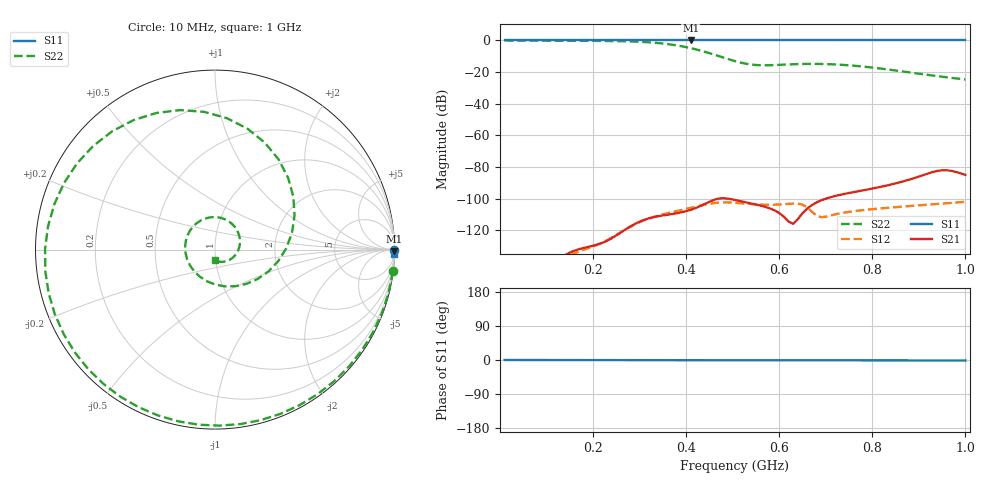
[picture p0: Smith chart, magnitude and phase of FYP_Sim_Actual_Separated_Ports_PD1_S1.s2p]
! Touchstone file from project FYP_Sim_Actual_Separated_Ports
! Exported from HFSS 13.0.2
# GHZ S MA R 50.000000
! Terminal data exported
! Port[1] = PD1_Void_Port_T1
! Port[2] = Radiating_Plate_T1
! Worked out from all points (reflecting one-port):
!   100 points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, 10 MHz to 1 GHz, reference 50 ohm
!   lowest |S11| = 0.0 dB at 410 MHz (marker M1)
!   phase of S11 starts at -0 deg and turns -1 deg over the sweep
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0.01  1 -0.0  8.799e-11 143.8  8.799e-11 143.8  0.9984 -7.0
0.05  1 -0.1  2.066e-09 -4.9  2.066e-09 -4.9  0.992 -34.3
0.1  1 -0.1  1.783e-08 169.2  1.783e-08 169.2  0.9851 -68.2
0.14  1 -0.2  1.645e-07 -32.1  1.313e-07 -62.8  0.9797 -95.3
0.18  1 -0.2  2.788e-07 -7.1  2.429e-07 -16.6  0.9744 -122.7
0.22  1 -0.3  4.021e-07 41.7  4.137e-07 42.4  0.9657 -150.8
0.26  1 -0.3  8.606e-07 105.4  8.791e-07 105.4  0.9467 179.7
0.3  1 -0.4  1.882e-06 164.9  1.806e-06 164.7  0.9064 148.0
0.34  1 -0.4  2.787e-06 -141.4  2.919e-06 -140.7  0.8285 113.2
0.37  1 -0.5  3.275e-06 -107.0  3.758e-06 -103.9  0.7354 84.9
0.39  1 -0.5  3.714e-06 -84.5  4.393e-06 -80.4  0.6572 65.0
0.41  1 -0.5  4.455e-06 -60.0  5.147e-06 -56.3  0.5707 44.4
0.43  1 -0.6  5.795e-06 -31.7  6.028e-06 -30.4  0.4821 23.2
0.46  1 -0.6  9.228e-06 23.5  7.283e-06 13.4  0.3582 -10.4
0.48  1 -0.6  1.038e-05 65.8  7.657e-06 44.4  0.2887 -34.6
0.51  1 -0.7  8.781e-06 109.1  7.35e-06 87.3  0.2123 -74.8
0.55  1 -0.7  6.553e-06 130.0  6.624e-06 133.2  0.1676 -133.4
0.58  1 -0.8  4.938e-06 128.1  6.448e-06 162.9  0.1652 -173.4
0.67  1 -0.9  6.257e-06 -59.2  3.902e-06 -10.0  0.1818 100.5
0.75  1 -1.0  1.512e-05 -99.4  3.838e-06 162.8  0.1638 42.1
0.84  1 -1.1  2.804e-05 -118.6  5.252e-06 -160.2  0.1176 -14.6
1  1 -1.3  5.679e-05 124.6  7.976e-06 -124.6  0.05862 -91.2
